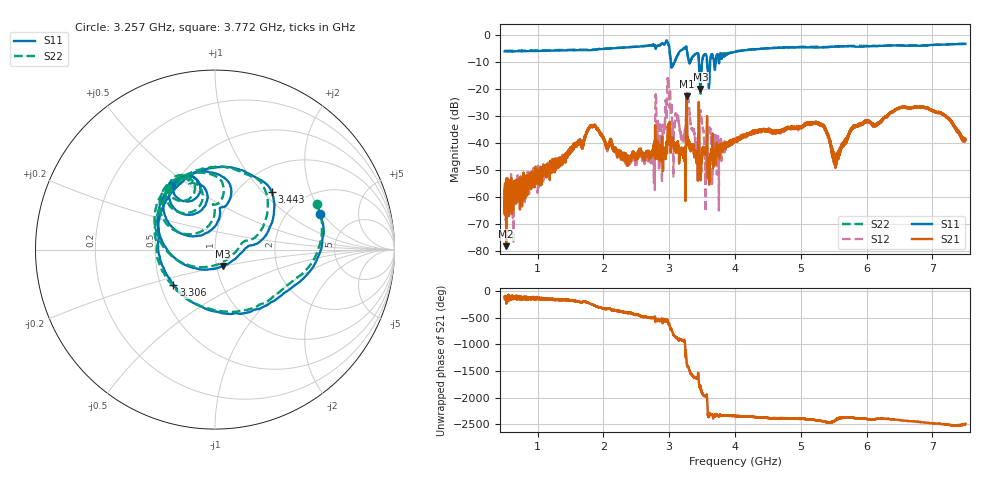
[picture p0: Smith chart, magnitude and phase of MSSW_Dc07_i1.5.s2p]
!Keysight Technologies,M9374A,MY55442783,A.12.55.05
!Date: Thursday, May 20, 2021 15:29:54
!Correction: S11(Full 2 Port(1,2))
!S21(Full 2 Port(1,2))
!S12(Full 2 Port(1,2))
!S22(Full 2 Port(1,2))
!S2P File: Measurements: S11, S21, S12, S22:
# Hz S  RI  R 50
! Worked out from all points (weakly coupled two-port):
!   7001 points, 500 MHz to 7.5 GHz, reference 50 ohm
!   highest |S21| = -22.60 dB at 3.264 GHz (marker M1); lowest = -78.3 dB at 525 MHz (marker M2)
!   lowest |S11| = -19.9 dB at 3.474 GHz (marker M3), VSWR 1.22, Z = 53.5 - j9.89 ohm
!   |S11| at or under -10 dB: 3.027 GHz to 3.082 GHz (54.69 MHz wide, 1.79 % of centre); 3.452 GHz to 3.499 GHz (46.84 MHz wide, 1.35 % of centre); 3.575 GHz to 3.622 GHz (46.78 MHz wide, 1.3 % of centre) (the widest 3 of 6)
!   |S22| runs from -21.7 to -1.9 dB; largest |S21 - S12| = 0.15
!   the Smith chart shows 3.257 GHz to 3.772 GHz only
!   S11 on the Smith chart (normalised r, x): 3.257 GHz: 2.92, +1.89; 3.306 GHz: 0.58, -0.25; 3.443 GHz: 1.40, +1.12; 3.772 GHz: 0.49, +0.43
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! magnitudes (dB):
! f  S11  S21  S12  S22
! 500 MHz  -6.0  -57.7  -55.0  -5.8
! 525 MHz  -6.0  -78.3  -61.6  -5.8
! 1.667 GHz  -5.5  -40.8  -40.6  -5.3
! 1.847 GHz  -5.4  -33.6  -33.6  -5.3
! 2.748 GHz  -3.9  -43.2  -43.7  -3.8
! 2.834 GHz  -3.9  -45.5  -33.0  -3.9
! 2.906 GHz  -3.0  -50.4  -33.2  -3.0
! 2.984 GHz  -3.2  -32.9  -15.6  -3.1
! 3.193 GHz  -5.5  -42.6  -39.0  -5.5
! 3.257 GHz  -4.2  -28.8  -30.8  -4.1
! 3.264 GHz  -4.5  -22.6  -29.4  -4.5
! 3.306 GHz  -10.4  -41.9  -27.5  -10.1
! 3.443 GHz  -6.9  -32.8  -37.1  -7.0
! 3.474 GHz  -19.9  -49.7  -28.4  -21.6
! 3.548 GHz  -7.1  -43.4  -51.8  -7.0
! 3.772 GHz  -7.3  -41.2  -43.0  -7.3
! 4 GHz  -6.1  -39.2  -39.1  -6.1
! 5.167 GHz  -4.5  -32.5  -32.9  -4.3
! 5.527 GHz  -4.2  -49.2  -48.2  -4.1
! 6.334 GHz  -3.8  -29.3  -29.5  -3.8
! 6.914 GHz  -3.8  -26.8  -26.9  -3.7
! 7.5 GHz  -3.2  -38.7  -38.8  -3.2
